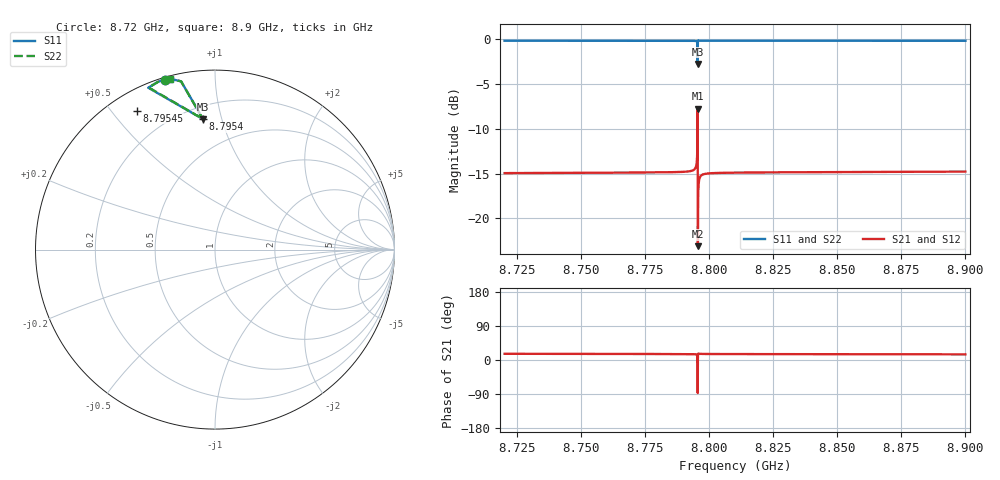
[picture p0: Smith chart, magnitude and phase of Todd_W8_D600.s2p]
! Sonnet Data File
! From: emgraph Version : 16.52
! From Project: transmon_brgOdd
! Data is De-embedded
! Data File Written: 11/11/2017 22:28:46
!< HDATE 11/11/2017 18:22:48
!< MDATE 11/11/2017 18:22:48
!< PARAMS
!< Lj = 15.24
!< Gap = 6.0
!< Width = 10.0
!< Airgap = 6.0
!< Pwidth = 2000.0
!< Dist = 600.0
!< END PARAMS
# GHZ S MA R 34.67000
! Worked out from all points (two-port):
!   3601 points, 8.72 GHz to 8.9 GHz, reference 34.67 ohm
!   highest |S21| = -7.73 dB at 8.7954 GHz (marker M1); lowest = -23.1 dB at 8.7955 GHz (marker M2)
!   |S21| within 3 dB of the highest: 8.795341 GHz to 8.795414 GHz (73.11 kHz wide, 0.000831 % of centre)
!   lowest |S11| = -2.7 dB at 8.7954 GHz (marker M3), VSWR 6.38, Z = 9.76 + j30.3 ohm
!   |S11| at or under -10 dB: nowhere
!   |S22| runs from -2.7 to -0.1 dB; largest |S21 - S12| = 0
!   S11 on the Smith chart (normalised r, x): 8.72 GHz: 0.01, +0.75; 8.7954 GHz: 0.28, +0.87; 8.79545 GHz: 0.08, +0.58; 8.9 GHz: 0.01, +0.77
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8.72  0.9838 106.4  0.1792 16.4  0.1792 16.4  0.9838 106.3
!< P1 F=8.72 Eeff=(5.13609477 -5.6761e-5) Z0=(34.6490765 -9.5162e-5) R=0.0 C=0.0
!< P2 F=8.72 Eeff=(5.13609477 -5.6761e-5) Z0=(34.6490765 -9.5162e-5) R=0.0 C=0.0
8.75  0.9837 106.1  0.1799 16.1  0.1799 16.1  0.9837 106.1
8.78  0.9835 105.8  0.1809 15.8  0.1809 15.8  0.9835 105.8
8.79265  0.9829 105.6  0.184 15.6  0.184 15.6  0.9829 105.5
8.79405  0.9822 105.4  0.1875 15.3  0.1875 15.3  0.9822 105.3
8.79435  0.9818 105.2  0.1894 15.2  0.1894 15.2  0.9818 105.2
8.7945  0.9814 105.2  0.1908 15.1  0.1908 15.1  0.9814 105.1
8.79465  0.981 105.0  0.1928 15.0  0.1928 15.0  0.981 105.0
8.79475  0.9805 104.9  0.1946 14.8  0.1946 14.8  0.9805 104.9
8.7954  0.7291 95.2  0.4105 -24.5  0.4105 -24.5  0.7318 95.4
8.79545  0.889 119.3  0.1215 -87.2  0.1215 -87.2  0.8904 119.1
8.7955  0.9755 112.4  0.07002 3.9  0.07002 3.9  0.9758 112.3
8.7961  0.9857 106.6  0.1668 16.4  0.1668 16.4  0.9857 106.5
8.79625  0.9853 106.4  0.1693 16.3  0.1693 16.3  0.9853 106.4
8.79635  0.9852 106.3  0.1705 16.3  0.1705 16.3  0.9852 106.3
8.7965  0.985 106.3  0.1719 16.2  0.1719 16.2  0.985 106.2
8.79675  0.9847 106.2  0.1736 16.1  0.1736 16.1  0.9847 106.1
8.79805  0.9842 105.9  0.1771 15.9  0.1771 15.9  0.9842 105.9
8.81  0.9836 105.7  0.1803 15.6  0.1803 15.6  0.9836 105.6
8.84  0.9834 105.4  0.1814 15.4  0.1814 15.4  0.9834 105.3
8.87  0.9833 105.1  0.1821 15.1  0.1821 15.1  0.9833 105.1
8.9  0.9832 104.9  0.1828 14.9  0.1828 14.9  0.9832 104.8
